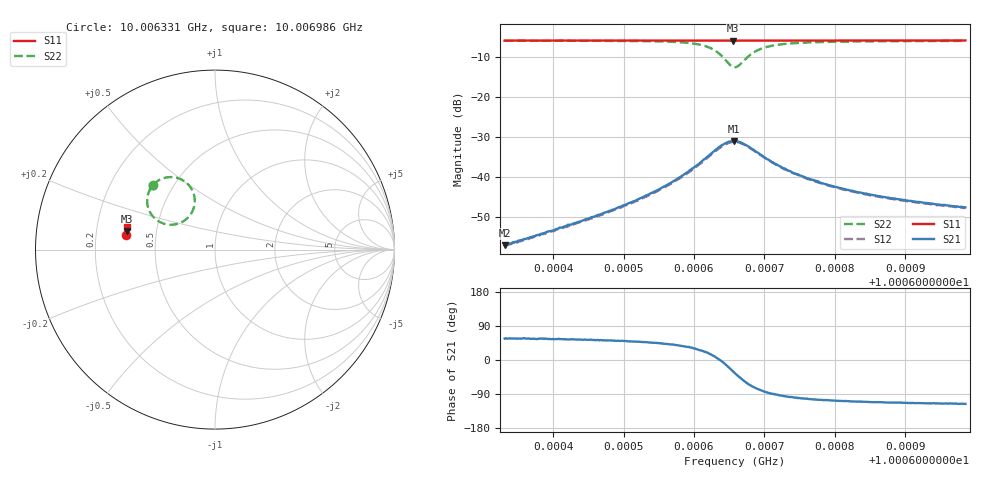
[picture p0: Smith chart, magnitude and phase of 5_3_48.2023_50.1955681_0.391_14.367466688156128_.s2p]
#  HZ  S  RI  R  50.00
! Rohde & Schwarz Vector Network Analyzer
! Rohde-Schwarz,ZNB20-2Port,1311601062101988,3.16
! Created: UTC 3/20/2024, 11:36:13 AM
! freq[Hz]  re:S11  im:S11  re:S21  im:S21  re:S12  im:S12  re:S22  im:S22
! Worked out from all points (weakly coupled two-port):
!   401 points, 10.006331 GHz to 10.006986 GHz, reference 50 ohm
!   highest |S21| = -31.07 dB at 10.006657 GHz (marker M1); lowest = -57.1 dB at 10.006331 GHz (marker M2)
!   lowest |S11| = -6.0 dB at 10.006655 GHz (marker M3), VSWR 3.00, Z = 16.8 + j4.65 ohm
!   |S11| at or under -10 dB: nowhere
!   |S22| runs from -12.6 to -6.0 dB; largest |S21 - S12| = 0.0021
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1.00063309e10  -0.4953 0.0836  0.000769 0.00116  0.000694 0.00116  -0.3448 0.3626
1.00064406e10  -0.4942 0.0909  0.00167 0.00225  0.00153 0.00229  -0.329 0.3758
1.00064929e10  -0.4937 0.0944  0.00263 0.00323  0.0024 0.00322  -0.3157 0.3848
1.00065502e10  -0.4928 0.0983  0.00497 0.00485  0.00461 0.005  -0.2872 0.3975
1.00065846e10  -0.4921 0.1007  0.00843 0.00621  0.00785 0.00645  -0.2507 0.4042
1.00066174e10  -0.4909 0.1029  0.0162 0.00608  0.0154 0.00662  -0.1785 0.3858
1.00066305e10  -0.4903 0.1036  0.0214 0.00296  0.0205 0.00393  -0.1374 0.3485
1.00066403e10  -0.4896 0.1038  0.0248 -0.00198  0.024 -0.000609  -0.1149 0.2954
1.00066485e10  -0.4893 0.1036  0.0258 -0.00831  0.0255 -0.00638  -0.1172 0.2366
1.0006655e10  -0.4891 0.1036  0.0243 -0.0137  0.0245 -0.0117  -0.1404 0.1901
1.00066567e10  -0.4892 0.1034  0.0237 -0.0148  0.024 -0.0129  -0.1489 0.1804
1.00066583e10  -0.4893 0.1035  0.0228 -0.016  0.0232 -0.014  -0.1585 0.171
1.00066632e10  -0.4894 0.1035  0.0199 -0.0187  0.0207 -0.017  -0.1911 0.1501
1.0006673e10  -0.49 0.1038  0.0134 -0.0213  0.0142 -0.02  -0.2589 0.1392
1.00066845e10  -0.4906 0.1043  0.00696 -0.0206  0.00815 -0.0198  -0.3175 0.1599
1.00066992e10  -0.4908 0.1054  0.00221 -0.0176  0.00328 -0.0172  -0.3563 0.1984
1.00067271e10  -0.491 0.1076  -0.00111 -0.0127  -0.000357 -0.0126  -0.3768 0.2532
1.00067434e10  -0.491 0.1087  -0.00179 -0.0107  -0.0012 -0.0108  -0.378 0.2736
1.0006768e10  -0.4907 0.1105  -0.00218 -0.00883  -0.00179 -0.00884  -0.3759 0.2946
1.00068138e10  -0.4902 0.1138  -0.00219 -0.00664  -0.00185 -0.00661  -0.3695 0.3179
1.00068777e10  -0.4894 0.1179  -0.00207 -0.00501  -0.00176 -0.00503  -0.3613 0.3355
1.00069857e10  -0.4879 0.1248  -0.00179 -0.00372  -0.00159 -0.00374  -0.3509 0.3521
